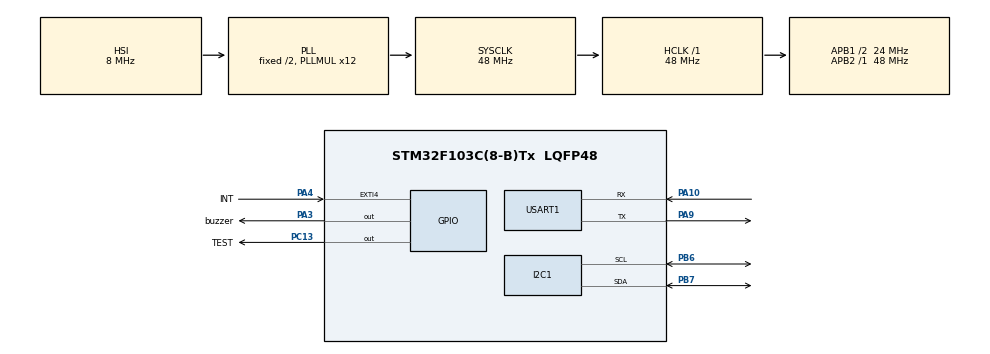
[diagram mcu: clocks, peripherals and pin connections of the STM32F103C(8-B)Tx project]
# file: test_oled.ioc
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I2C1.I2C_Mode=I2C_Fast
Mcu.Family=STM32F1
Mcu.Name=STM32F103C(8-B)Tx
Mcu.Package=LQFP48
NVIC.EXTI4_IRQn=true\:0\:0\:true\:false\:true\:true\:true\:true
NVIC.PriorityGroup=NVIC_PRIORITYGROUP_4
PA10.Mode=Asynchronous
PA10.Signal=USART1_RX
PA13.Mode=Serial_Wire
PA13.Signal=SYS_JTMS-SWDIO
PA14.Mode=Serial_Wire
PA14.Signal=SYS_JTCK-SWCLK
PA3.GPIO_Label=buzzer
PA3.Signal=GPIO_Output
PA4.GPIO_Label=INT
PA4.GPIO_ModeDefaultEXTI=GPIO_MODE_IT_FALLING
PA4.GPIO_PuPd=GPIO_NOPULL
PA4.Signal=GPXTI4
PA9.Mode=Asynchronous
PA9.Signal=USART1_TX
PB6.Mode=I2C
PB6.Signal=I2C1_SCL
PB7.Mode=I2C
PB7.Signal=I2C1_SDA
PC13-TAMPER-RTC.GPIO_Label=TEST
PC13-TAMPER-RTC.Signal=GPIO_Output
PD0-OSC_IN.Mode=HSE-External-Oscillator
PD0-OSC_IN.Signal=RCC_OSC_IN
PD1-OSC_OUT.Mode=HSE-External-Oscillator
PD1-OSC_OUT.Signal=RCC_OSC_OUT
ProjectManager.HeapSize=0x200
ProjectManager.StackSize=0x400
ProjectManager.TargetToolchain=STM32CubeIDE
RCC.AHBFreq_Value=48000000
RCC.APB1CLKDivider=RCC_HCLK_DIV2
RCC.APB1Freq_Value=24000000
RCC.APB1TimFreq_Value=48000000
RCC.APB2Freq_Value=48000000
RCC.APB2TimFreq_Value=48000000
RCC.HCLKFreq_Value=48000000
RCC.PLLMUL=RCC_PLL_MUL12
RCC.SYSCLKFreq_VALUE=48000000
RCC.SYSCLKSource=RCC_SYSCLKSOURCE_PLLCLK
RCC.USBFreq_Value=48000000
USART1.VirtualMode=VM_ASYNC
board=custom

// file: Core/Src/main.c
/* USER CODE BEGIN Header */
/**
  ******************************************************************************
  * @file           : main.c
  * @brief          : Main program body
  ******************************************************************************
  * @attention
  *
  * Copyright (c) 2024 STMicroelectronics.
  * All rights reserved.
  *
  * This software is licensed under terms that can be found in the LICENSE file
  * in the root directory of this software component.
  * If no LICENSE file comes with this software, it is provided AS-IS.
  *
  ******************************************************************************
  */
/* USER CODE END Header */
#include "main.h"

/* USER CODE BEGIN Includes */
#include <stdio.h>
#include <bitmaps.h>
#include <fonts.h>
#include <gifs.h>
#include <ssd1306.h>
#include <max30102.h>
/* USER CODE END Includes */

I2C_HandleTypeDef hi2c1;

UART_HandleTypeDef huart1;

/* USER CODE BEGIN PV */
int __io_putchar(int ch)
{
  uint8_t temp = ch;
  HAL_UART_Transmit(&huart1, &temp, 1, HAL_MAX_DELAY);
  return ch;
}

// Override plot function

void max30102_plot(uint32_t ir_sample, uint32_t red_sample,uint32_t heart_Rate, uint32_t SpO2)
{
    // printf("ir:%u\n", ir_sample);                  // Print IR only
    // printf("r:%u\n", red_sample);                  // Print Red only
   // printf("ir:%lu,r:%lu\n", ir_sample, red_sample);    // Print IR and Red
    printf("%d,%d\n",heart_Rate,SpO2);
    //printf("heart rate:%d \n",heart_Rate);

}

max30102_t max30102;
typedef enum state {NO_FINGER,FINGER} state_t;

uint8_t heart_rate;
uint8_t SpO2_value;

/* USER CODE END PV */

void SystemClock_Config(void);
static void MX_GPIO_Init(void);
static void MX_I2C1_Init(void);
static void MX_USART1_UART_Init(void);

int main(void)
{

  /* MCU Configuration--------------------------------------------------------*/

  /* Reset of all peripherals, Initializes the Flash interface and the Systick. */
  HAL_Init();

  /* Configure the system clock */
  SystemClock_Config();

  /* Initialize all configured peripherals */
  MX_GPIO_Init();
  MX_I2C1_Init();
  MX_USART1_UART_Init();
  /* USER CODE BEGIN 2 */
  max30102_init(&max30102, &hi2c1);
  max30102_reset(&max30102);
  max30102_clear_fifo(&max30102);
  max30102_set_fifo_config(&max30102, max30102_smp_ave_8, 1, 7);

  // Sensor settings
  max30102_set_led_pulse_width(&max30102, max30102_pw_16_bit);
  max30102_set_adc_resolution(&max30102, max30102_adc_2048);
  max30102_set_sampling_rate(&max30102, max30102_sr_800);
  max30102_set_led_current_1(&max30102, 6.2);
  max30102_set_led_current_2(&max30102, 6.2);

  // Enter SpO2 mode
  max30102_set_mode(&max30102, max30102_spo2);
  max30102_set_a_full(&max30102, 1);

  // Initiate 1 temperature measurement
  max30102_set_die_temp_en(&max30102, 1);
  max30102_set_die_temp_rdy(&max30102, 1);

  uint8_t en_reg[2] = {0};
  max30102_read(&max30102, 0x00, en_reg, 1);
  HAL_Delay(1000);
  HAL_GPIO_WritePin(GPIOC, GPIO_PIN_13, 1);

  SSD1306_Init();
  /* USER CODE END 2 */

  /* Infinite loop */
  while (1)
  {

    /* USER CODE BEGIN 3 */
	    //if (max30102_has_interrupt(&max30102))
	   // {
		      max30102_interrupt_handler(&max30102);
		      heart_rate = max30102_getHeartRate();
		      SpO2_value = max30102_getSpO2();
		      max30102_plot(0, 0, heart_rate, SpO2_value);
		      SSD1306_Clear();
		      SSD1306_GotoXY(0, 0);
		      SSD1306_UpdateScreen();
		      SSD1306_Println("SpO2 = %d",SpO2_value);
		      HAL_Delay(1000);

		      //HAL_GPIO_TogglePin(GPIOC, GPIO_PIN_13);
	   // }

  }
  /* USER CODE END 3 */
}

void SystemClock_Config(void)
{
  RCC_OscInitTypeDef RCC_OscInitStruct = {0};
  RCC_ClkInitTypeDef RCC_ClkInitStruct = {0};

  /** Initializes the RCC Oscillators according to the specified parameters
  * in the RCC_OscInitTypeDef structure.
  */
  RCC_OscInitStruct.OscillatorType = RCC_OSCILLATORTYPE_HSI;
  RCC_OscInitStruct.HSIState = RCC_HSI_ON;
  RCC_OscInitStruct.HSICalibrationValue = RCC_HSICALIBRATION_DEFAULT;
  RCC_OscInitStruct.PLL.PLLState = RCC_PLL_ON;
  RCC_OscInitStruct.PLL.PLLSource = RCC_PLLSOURCE_HSI_DIV2;
  RCC_OscInitStruct.PLL.PLLMUL = RCC_PLL_MUL12;
  if (HAL_RCC_OscConfig(&RCC_OscInitStruct) != HAL_OK)
  {
    Error_Handler();
  }

  /** Initializes the CPU, AHB and APB buses clocks
  */
  RCC_ClkInitStruct.ClockType = RCC_CLOCKTYPE_HCLK|RCC_CLOCKTYPE_SYSCLK
                              |RCC_CLOCKTYPE_PCLK1|RCC_CLOCKTYPE_PCLK2;
  RCC_ClkInitStruct.SYSCLKSource = RCC_SYSCLKSOURCE_PLLCLK;
  RCC_ClkInitStruct.AHBCLKDivider = RCC_SYSCLK_DIV1;
  RCC_ClkInitStruct.APB1CLKDivider = RCC_HCLK_DIV2;
  RCC_ClkInitStruct.APB2CLKDivider = RCC_HCLK_DIV1;

  if (HAL_RCC_ClockConfig(&RCC_ClkInitStruct, FLASH_LATENCY_1) != HAL_OK)
  {
    Error_Handler();
  }
}

static void MX_I2C1_Init(void)
{

  hi2c1.Instance = I2C1;
  hi2c1.Init.ClockSpeed = 400000;
  hi2c1.Init.DutyCycle = I2C_DUTYCYCLE_2;
  hi2c1.Init.OwnAddress1 = 0;
  hi2c1.Init.AddressingMode = I2C_ADDRESSINGMODE_7BIT;
  hi2c1.Init.DualAddressMode = I2C_DUALADDRESS_DISABLE;
  hi2c1.Init.OwnAddress2 = 0;
  hi2c1.Init.GeneralCallMode = I2C_GENERALCALL_DISABLE;
  hi2c1.Init.NoStretchMode = I2C_NOSTRETCH_DISABLE;
  if (HAL_I2C_Init(&hi2c1) != HAL_OK)
  {
    Error_Handler();
  }

}

static void MX_USART1_UART_Init(void)
{

  huart1.Instance = USART1;
  huart1.Init.BaudRate = 115200;
  huart1.Init.WordLength = UART_WORDLENGTH_8B;
  huart1.Init.StopBits = UART_STOPBITS_1;
  huart1.Init.Parity = UART_PARITY_NONE;
  huart1.Init.Mode = UART_MODE_TX_RX;
  huart1.Init.HwFlowCtl = UART_HWCONTROL_NONE;
  huart1.Init.OverSampling = UART_OVERSAMPLING_16;
  if (HAL_UART_Init(&huart1) != HAL_OK)
  {
    Error_Handler();
  }

}

static void MX_GPIO_Init(void)
{
  GPIO_InitTypeDef GPIO_InitStruct = {0};

  /* GPIO Ports Clock Enable */
  __HAL_RCC_GPIOC_CLK_ENABLE();
  __HAL_RCC_GPIOD_CLK_ENABLE();
  __HAL_RCC_GPIOA_CLK_ENABLE();
  __HAL_RCC_GPIOB_CLK_ENABLE();

  /*Configure GPIO pin Output Level */
  HAL_GPIO_WritePin(TEST_GPIO_Port, TEST_Pin, GPIO_PIN_RESET);

  /*Configure GPIO pin Output Level */
  HAL_GPIO_WritePin(buzzer_GPIO_Port, buzzer_Pin, GPIO_PIN_RESET);

  /*Configure GPIO pin : TEST_Pin */
  GPIO_InitStruct.Pin = TEST_Pin;
  GPIO_InitStruct.Mode = GPIO_MODE_OUTPUT_PP;
  GPIO_InitStruct.Pull = GPIO_NOPULL;
  GPIO_InitStruct.Speed = GPIO_SPEED_FREQ_LOW;
  HAL_GPIO_Init(TEST_GPIO_Port, &GPIO_InitStruct);

  /*Configure GPIO pin : buzzer_Pin */
  GPIO_InitStruct.Pin = buzzer_Pin;
  GPIO_InitStruct.Mode = GPIO_MODE_OUTPUT_PP;
  GPIO_InitStruct.Pull = GPIO_NOPULL;
  GPIO_InitStruct.Speed = GPIO_SPEED_FREQ_LOW;
  HAL_GPIO_Init(buzzer_GPIO_Port, &GPIO_InitStruct);

  /*Configure GPIO pin : INT_Pin */
  GPIO_InitStruct.Pin = INT_Pin;
  GPIO_InitStruct.Mode = GPIO_MODE_IT_FALLING;
  GPIO_InitStruct.Pull = GPIO_NOPULL;
  HAL_GPIO_Init(INT_GPIO_Port, &GPIO_InitStruct);

  /* EXTI interrupt init*/
  HAL_NVIC_SetPriority(EXTI4_IRQn, 0, 0);
  HAL_NVIC_EnableIRQ(EXTI4_IRQn);

}

void Error_Handler(void)
{
  __disable_irq();
  while (1)
  {
  }
}
